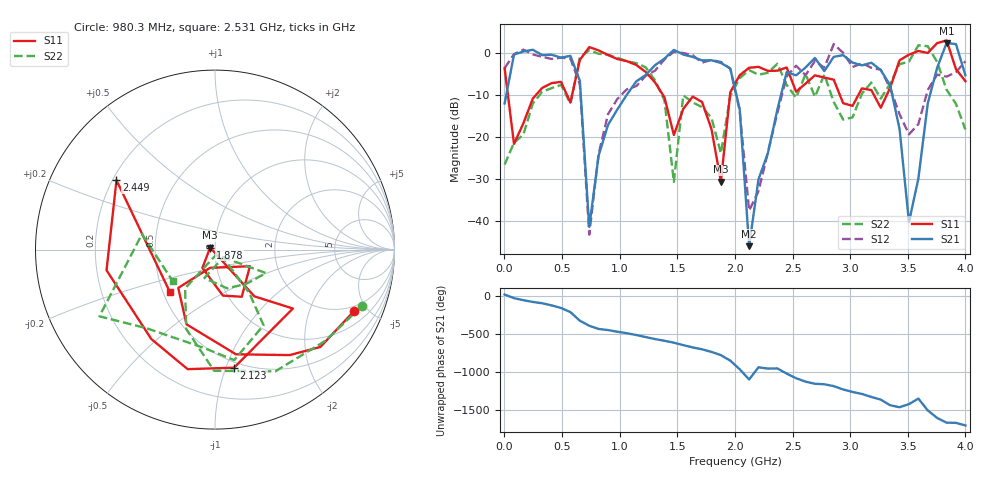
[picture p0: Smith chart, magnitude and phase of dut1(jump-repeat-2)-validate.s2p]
!Created with skrf (http://scikit-rf.org).
# GHz S DB R 50.0
!freq dBS11 angS11 dBS21 angS21 dBS12 angS12 dBS22 angS22
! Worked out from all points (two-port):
!   50 points, 1 MHz to 4 GHz, reference 50 ohm
!   highest |S21| = 2.39 dB at 3.837 GHz (marker M1); lowest = -46.1 dB at 2.123 GHz (marker M2)
!   |S21| within 3 dB of the highest: 80.91 MHz to 431.9 MHz (350.9 MHz wide, 137 % of centre); 1.417 GHz to 1.586 GHz (168.9 MHz wide, 11.2 % of centre) (the widest 2 of 4)
!   lowest |S11| = -30.7 dB at 1.878 GHz (marker M3), VSWR 1.06, Z = 47.3 + j1.06 ohm
!   |S11| at or under -10 dB: 29.77 MHz to 273.5 MHz (243.8 MHz wide, 161 % of centre); 1.375 GHz to 1.957 GHz (582.2 MHz wide, 34.9 % of centre); 2.91 GHz to 3.072 GHz (161.2 MHz wide, 5.39 % of centre) (the widest 3 of 5)
!   |S22| runs from -30.7 to 1.8 dB; largest |S21 - S12| = 1.1
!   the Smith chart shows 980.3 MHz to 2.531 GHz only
!   S11 on the Smith chart (normalised r, x): 980.3 MHz: 1.67, -4.06; 1.878 GHz: 0.95, +0.02; 2.123 GHz: 0.45, -1.07; 2.449 GHz: 0.22, +0.30; 2.531 GHz: 0.54, -0.29
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0.001  -3.63 -164.7  -12.04 23.8  -3.62 -14.7  -26.61 143.9
0.2458367  -10.86 -160.5  0.78 -74.0  -0.35 -69.0  -12.04 -148.7
0.5722857  -11.82 72.4  -0.68 152.0  -1.30 154.6  -12.05 66.0
0.7355102  1.40 52.5  -41.49 -27.7  -43.31 -48.8  0.67 64.4
0.9803469  -1.44 -23.9  -13.42 -107.2  -10.93 -114.5  -1.14 -21.2
1.388408  -10.58 -133.8  -1.34 133.7  -1.51 133.5  -11.29 -127.7
1.47002  -19.54 -105.3  0.74 108.7  0.29 102.9  -30.73 -76.4
1.551633  -13.33 -25.4  -0.37 76.3  0.00 77.7  -10.11 -24.7
1.878082  -30.66 157.6  -2.37 -55.7  -2.14 -60.4  -23.91 -44.0
2.041306  -5.29 -37.1  -13.41 117.9  -13.79 116.5  -6.01 -57.3
2.122918  -3.52 -80.8  -46.06 -16.7  -37.57 95.5  -4.08 -80.1
2.449367  -3.46 144.8  -4.55 61.0  -5.55 59.3  -7.62 168.0
2.53098  -9.24 -136.7  -5.32 -0.3  -3.02 -3.2  -10.64 -143.4
2.694204  -5.32 -148.2  -1.18 -73.6  -1.91 -64.5  -10.43 -162.7
2.939041  -11.96 128.7  -0.51 -148.4  0.04 -153.1  -15.88 98.9
3.183878  -8.86 176.9  -2.32 113.0  -3.52 122.1  -7.03 177.8
3.347102  -8.29 -165.4  -7.72 3.4  -8.36 5.6  -7.32 -166.9
3.510327  -0.39 171.4  -40.31 17.8  -19.40 86.8  -2.06 175.7
3.673551  0.00 87.2  -12.01 -65.4  -8.79 -55.7  1.61 94.6
3.836776  2.99 42.2  2.39 133.7  -5.64 -176.1  -8.77 78.2
3.918388  -3.87 127.3  2.12 130.5  -4.56 107.9  -12.13 29.4
4  -6.72 112.3  -5.30 96.5  -1.96 70.6  -18.25 63.3
